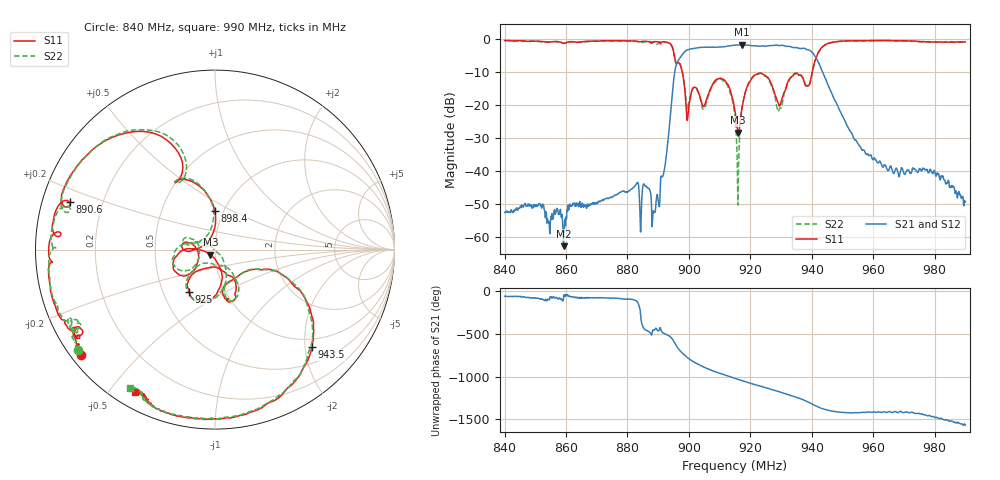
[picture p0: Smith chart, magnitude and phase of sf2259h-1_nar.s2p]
# Hz  S  RI  R  50
! ADVANTEST Corporation R3860A
! Date: Thu May 17 15:43:47 2018
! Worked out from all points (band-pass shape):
!   1601 points, 840 MHz to 990 MHz, reference 50 ohm
!   highest |S21| = -1.73 dB at 917.3 MHz (marker M1); lowest = -62.7 dB at 859.2 MHz (marker M2)
!   |S21| within 3 dB of the highest: 897.8 MHz to 940.8 MHz (42.92 MHz wide, 4.67 % of centre)
!   lowest |S11| = -28.4 dB at 916 MHz (marker M3), VSWR 1.08, Z = 47.4 - j2.64 ohm
!   |S11| at or under -10 dB: 897.8 MHz to 940.2 MHz (42.34 MHz wide, 4.61 % of centre)
!   |S22| runs from -50.3 to -0.5 dB; largest |S21 - S12| = 0.0027
!   S11 on the Smith chart (normalised r, x): 840 MHz: 0.03, -0.35; 890.6 MHz: 0.08, +0.16; 898.4 MHz: 0.91, +0.41; 925 MHz: 0.67, -0.34; 943.5 MHz: 0.82, -2.15; 990 MHz: 0.06, -0.58
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8.4e8  -0.7492 -0.5898  0.0013 -0.00198  0.00128 -0.00199  -0.7658 -0.5585
8.592188e8  -0.744 -0.4446  0.0005 -0.00053  0.000481 -0.000536  -0.762 -0.4006
8.650312e8  -0.7884 -0.4524  0.000692 -0.00276  0.000741 -0.00274  -0.8083 -0.3861
8.900625e8  -0.8749 0.2406  -0.000783 -0.00334  -0.000793 -0.00333  -0.8457 0.2173
8.90625e8  -0.8096 0.2646  0.00206 -0.0043  0.00207 -0.00429  -0.855 0.2855
8.961562e8  -0.2196 0.3738  0.1727 0.4039  0.1731 0.4036  -0.2176 0.3714
8.984062e8  -0.00184 0.2168  0.583 -0.2306  0.5822 -0.2307  -0.00989 0.2298
8.99625e8  -0.0596 0.0268  0.3503 -0.5933  0.35 -0.5925  -0.0704 0.056
9.013125e8  -0.1815 0.00693  -0.1336 -0.7049  -0.1334 -0.7048  -0.1745 0.0404
9.055312e8  -0.0944 -0.0637  -0.755 -0.0205  -0.7533 -0.0203  -0.0907 -0.049
9.111562e8  -0.2332 -0.0781  -0.2075 0.7357  -0.2075 0.7356  -0.2288 -0.0361
9.15e8  -0.0815 -0.00126  0.4059 0.7016  0.406 0.7019  -0.0558 0.0351
9.160312e8  -0.0261 -0.0278  0.5448 0.6015  0.5447 0.6016  0.00146 -0.00595
9.173438e8  0.0226 -0.0908  0.6918 0.4386  0.6908 0.4385  0.0519 -0.0778
9.250312e8  -0.1463 -0.2343  0.5174 -0.5858  0.5184 -0.5853  -0.1489 -0.2305
9.293438e8  -0.0188 -0.0971  -0.0902 -0.7942  -0.0902 -0.7918  -0.00354 -0.0848
9.345e8  0.1043 -0.283  -0.6784 -0.3056  -0.6767 -0.3046  0.1121 -0.2719
9.400312e8  0.272 -0.1111  -0.334 0.5414  -0.3325 0.5407  0.2712 -0.1102
9.435e8  0.5404 -0.543  0.1381 0.2862  0.1379 0.2872  0.5309 -0.5486
9.541875e8  -0.00216 -0.9417  0.0281 0.00985  0.0282 0.00979  -0.0225 -0.9389
9.650625e8  -0.2536 -0.914  0.0089 0.00523  0.00891 0.00525  -0.2782 -0.9059
9.9e8  -0.4462 -0.7928  -0.00198 -0.00282  -0.00201 -0.00287  -0.473 -0.7709
